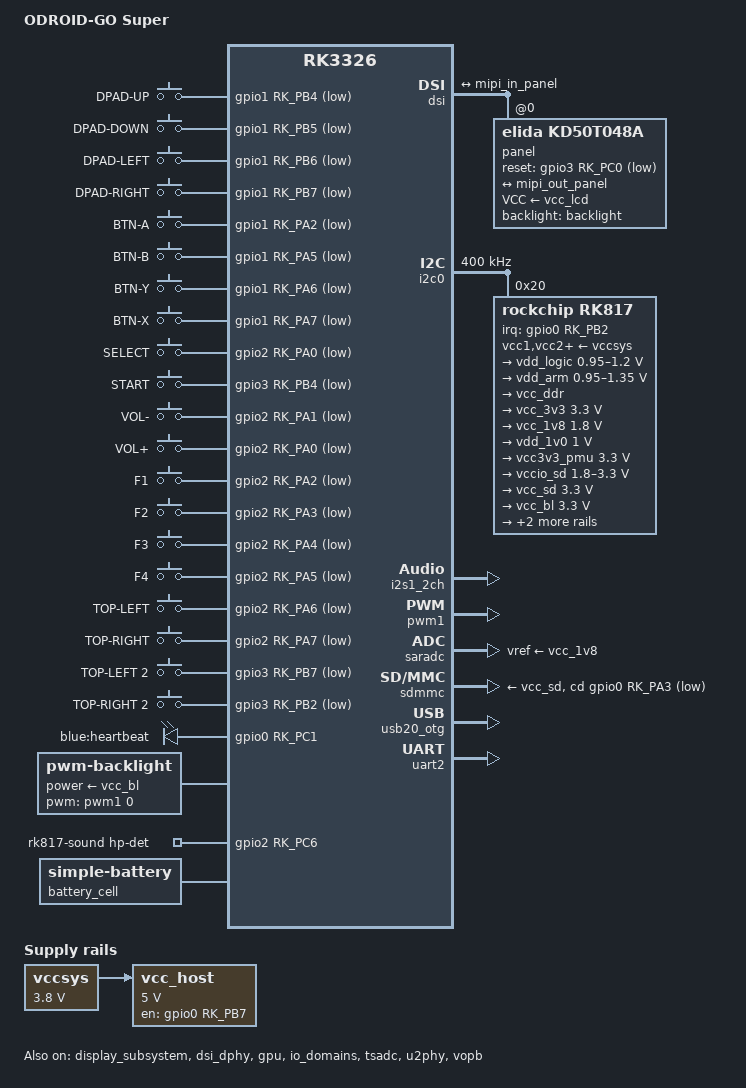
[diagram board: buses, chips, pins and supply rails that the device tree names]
// SPDX-License-Identifier: (GPL-2.0+ OR MIT)
/*
 * Copyright (c) 2019 Hardkernel Co., Ltd
 * Copyright (c) 2020 Theobroma Systems Design und Consulting GmbH
 */

/dts-v1/;
#include <dt-bindings/gpio/gpio.h>
#include <dt-bindings/input/input.h>
#include <dt-bindings/pinctrl/rockchip.h>
#include "rk3326.dtsi"

/ {
	model = "ODROID-GO Super";
	compatible = "hardkernel,rk3326-odroid-go3", "rockchip,rk3326";

	chosen {
		stdout-path = "serial2:115200n8";
	};

	gpio-keys {
		compatible = "gpio-keys";
		pinctrl-names = "default";
		pinctrl-0 = <&btn_pins>;

		/*
		 *          *** ODROID-GO3 Switch layout ***
		 * |------------------------------------------------|
		 * | sw15 sw17          sw21 sw22         sw18 sw16 |
		 * |------------------------------------------------|
		 * |           sw19                   sw20          |
		 * |     sw1      |-------------------|      sw8    |
		 * |  sw3   sw4   |                   |   sw7   sw5 |
		 * |     sw2      |    LCD Display    |      sw6    |
		 * |              |                   |             |
		 * |              |-------------------|             |
		 * |  sw9 sw10                           sw13 sw14  |
		 * |------------------------------------------------|
		 */

		sw1 {
			gpios = <&gpio1 RK_PB4 GPIO_ACTIVE_LOW>;
			label = "DPAD-UP";
			linux,code = <BTN_DPAD_UP>;
		};
		sw2 {
			gpios = <&gpio1 RK_PB5 GPIO_ACTIVE_LOW>;
			label = "DPAD-DOWN";
			linux,code = <BTN_DPAD_DOWN>;
		};
		sw3 {
			gpios = <&gpio1 RK_PB6 GPIO_ACTIVE_LOW>;
			label = "DPAD-LEFT";
			linux,code = <BTN_DPAD_LEFT>;
		};
		sw4 {
			gpios = <&gpio1 RK_PB7 GPIO_ACTIVE_LOW>;
			label = "DPAD-RIGHT";
			linux,code = <BTN_DPAD_RIGHT>;
		};
		sw5 {
			gpios = <&gpio1 RK_PA2 GPIO_ACTIVE_LOW>;
			label = "BTN-A";
			linux,code = <BTN_EAST>;
		};
		sw6 {
			gpios = <&gpio1 RK_PA5 GPIO_ACTIVE_LOW>;
			label = "BTN-B";
			linux,code = <BTN_SOUTH>;
		};
		sw7 {
			gpios = <&gpio1 RK_PA6 GPIO_ACTIVE_LOW>;
			label = "BTN-Y";
			linux,code = <BTN_WEST>;
		};
		sw8 {
			gpios = <&gpio1 RK_PA7 GPIO_ACTIVE_LOW>;
			label = "BTN-X";
			linux,code = <BTN_NORTH>;
		};
		sw9 {
			gpios = <&gpio2 RK_PA0 GPIO_ACTIVE_LOW>;
			label = "SELECT";
			linux,code = <BTN_SELECT>;
		};
		sw10 {
			gpios = <&gpio3 RK_PB4 GPIO_ACTIVE_LOW>;
			label = "START";
			linux,code = <BTN_START>;
		};
		sw11 {
			gpios = <&gpio2 RK_PA1 GPIO_ACTIVE_LOW>;
			label = "VOL-";
			linux,code = <BTN_TRIGGER_HAPPY1>;
		};
		sw12 {
			gpios = <&gpio2 RK_PA0 GPIO_ACTIVE_LOW>;
			label = "VOL+";
			linux,code = <BTN_TRIGGER_HAPPY2>;
		};
		sw13 {
			gpios = <&gpio2 RK_PA2 GPIO_ACTIVE_LOW>;
			label = "F1";
			linux,code = <BTN_TRIGGER_HAPPY3>;
		};
		sw14 {
			gpios = <&gpio2 RK_PA3 GPIO_ACTIVE_LOW>;
			label = "F2";
			linux,code = <BTN_TRIGGER_HAPPY4>;
		};
		sw15 {
			gpios = <&gpio2 RK_PA4 GPIO_ACTIVE_LOW>;
			label = "F3";
			linux,code = <BTN_TRIGGER_HAPPY5>;
		};
		sw16 {
			gpios = <&gpio2 RK_PA5 GPIO_ACTIVE_LOW>;
			label = "F4";
			linux,code = <BTN_TRIGGER_HAPPY6>;
		};
		sw17 {
			gpios = <&gpio2 RK_PA6 GPIO_ACTIVE_LOW>;
			label = "TOP-LEFT";
			linux,code = <BTN_TL>;
		};
		sw18 {
			gpios = <&gpio2 RK_PA7 GPIO_ACTIVE_LOW>;
			label = "TOP-RIGHT";
			linux,code = <BTN_TR>;
		};
		sw19 {
			gpios = <&gpio3 RK_PB7 GPIO_ACTIVE_LOW>;
			label = "TOP-LEFT 2";
			linux,code = <BTN_TL2>;
		};
		sw20 {
			gpios = <&gpio3 RK_PB2 GPIO_ACTIVE_LOW>;
			label = "TOP-RIGHT 2";
			linux,code = <BTN_TR2>;
		};
	};

	leds: gpio-leds {
		compatible = "gpio-leds";
		pinctrl-names = "default";
		pinctrl-0 = <&blue_led_pin>;

		blue_led: led-0 {
			label = "blue:heartbeat";
			gpios = <&gpio0 RK_PC1 GPIO_ACTIVE_HIGH>;
			linux,default-trigger = "heartbeat";
		};
	};


	backlight: backlight {
		compatible = "pwm-backlight";
		power-supply = <&vcc_bl>;
		pwms = <&pwm1 0 25000 0>;
	};

	leds: gpio-leds {
		compatible = "gpio-leds";
		pinctrl-names = "default";
		pinctrl-0 = <&blue_led_pin>;

		blue_led: led-0 {
			label = "blue:heartbeat";
			gpios = <&gpio0 RK_PC1 GPIO_ACTIVE_HIGH>;
			linux,default-trigger = "heartbeat";
		};
	};

	vccsys: vccsys {
		compatible = "regulator-fixed";
		regulator-name = "vcc3v8_sys";
		regulator-always-on;
		regulator-min-microvolt = <3800000>;
		regulator-max-microvolt = <3800000>;
	};

	rk817-sound {
		status = "okay";
		compatible = "simple-audio-card";
		simple-audio-card,format = "i2s";
		simple-audio-card,name = "Analog";
		simple-audio-card,mclk-fs = <256>;
		simple-audio-card,widgets =
			"Microphone", "Mic Jack",
			"Headphone", "Headphones",
			"Speaker", "Speaker";
		simple-audio-card,routing =
			"MICL", "Mic Jack",
			"Headphones", "HPOL",
			"Headphones", "HPOR",
			"Speaker", "SPKO";
		simple-audio-card,hp-det-gpio = <&gpio2 RK_PC6 GPIO_ACTIVE_HIGH>;
		simple-audio-card,cpu {
			sound-dai = <&i2s1_2ch>;
		};
		simple-audio-card,codec {
			sound-dai = <&rk817>;
		};
	};

	vcc_host: vcc_host {
		compatible = "regulator-fixed";
		regulator-name = "vcc_host";
		regulator-min-microvolt = <5000000>;
		regulator-max-microvolt = <5000000>;

		gpio = <&gpio0 RK_PB7 GPIO_ACTIVE_HIGH>;
		enable-active-high;
		regulator-always-on;
		vin-supply = <&vccsys>;
	};

	battery_cell: battery-cell {
		compatible = "simple-battery";
		charge-full-design-microamp-hours = <3000000>;
		charge-term-current-microamp = <300000>;
		constant-charge-current-max-microamp = <2000000>;
		constant-charge-voltage-max-microvolt = <4200000>;
		factory-internal-resistance-micro-ohms = <180000>;
		voltage-max-design-microvolt = <4100000>;
		voltage-min-design-microvolt = <3500000>;

		ocv-capacity-celcius = <20>;
		ocv-capacity-table-0 = <4106000 100>, <4071000 95>, <4018000 90>, <3975000 85>,
					<3946000 80>, <3908000 75>, <3877000 70>, <3853000 65>,
					<3834000 60>, <3816000 55>, <3802000 50>, <3788000 45>,
					<3774000 40>, <3760000 35>, <3748000 30>, <3735000 25>,
					<3718000 20>, <3697000 15>, <3685000 10>, <3625000 5>,
					<3500000 0>;
	};
};

//&dmc {
//	center-supply = <&vdd_logic>;
//};

&cpu0 {
	cpu-supply = <&vdd_arm>;
};

&cpu1 {
	cpu-supply = <&vdd_arm>;
};

&cpu2 {
	cpu-supply = <&vdd_arm>;
};

&cpu3 {
	cpu-supply = <&vdd_arm>;
};

&cru {
	assigned-clocks = <&cru PLL_NPLL>,
		<&cru ACLK_BUS_PRE>, <&cru ACLK_PERI_PRE>,
		<&cru HCLK_BUS_PRE>, <&cru HCLK_PERI_PRE>,
		<&cru PCLK_BUS_PRE>, <&cru SCLK_GPU>,
		<&cru PLL_CPLL>;

	assigned-clock-rates = <1188000000>,
		<200000000>, <200000000>,
		<150000000>, <150000000>,
		<100000000>, <200000000>,
		<17000000>;
};

&display_subsystem {
	status = "okay";
};

&dsi {
	status = "okay";

	ports {
		mipi_out: port@1 {
			reg = <1>;

			mipi_out_panel: endpoint {
				remote-endpoint = <&mipi_in_panel>;
			};
		};
	};

	panel@0 {
		compatible = "elida,kd50t048a", "simple-panel-dsi";
		reg = <0>;
		backlight = <&backlight>;
		reset-gpios = <&gpio3 RK_PC0 GPIO_ACTIVE_LOW>;
		VCC-supply = <&vcc_lcd>;

		port {
			mipi_in_panel: endpoint {
				remote-endpoint = <&mipi_out_panel>;
			};
		}; 
	};
};



&dsi_dphy {
	status = "okay";
};

&gpu {
	mali-supply = <&vdd_logic>;
	status = "okay";
};

&i2c0 {
	clock-frequency = <400000>;
	i2c-scl-falling-time-ns = <16>;
	i2c-scl-rising-time-ns = <280>;
	status = "okay";

	rk817: pmic@20 {
		compatible = "rockchip,rk817";
		reg = <0x20>;
		interrupt-parent = <&gpio0>;
		interrupts = <RK_PB2 IRQ_TYPE_LEVEL_LOW>;
		pinctrl-names = "default";
		pinctrl-0 = <&pmic_int &i2s1_2ch_mclk>;
		wakeup-source;
		#clock-cells = <1>;
		clock-output-names = "rk808-clkout1", "xin32k";
		clocks = <&cru SCLK_I2S1_OUT>;
		clock-names = "mclk";
		#sound-dai-cells = <0>;

		vcc1-supply = <&vccsys>;
		vcc2-supply = <&vccsys>;
		vcc3-supply = <&vccsys>;
		vcc4-supply = <&vccsys>;
		vcc5-supply = <&vccsys>;
		vcc6-supply = <&vccsys>;
		vcc7-supply = <&vccsys>;

		rk817_battery: battery {
			monitored-battery = <&battery_cell>;
			rockchip,resistor-sense-micro-ohms = <10000>;
			rockchip,sleep-enter-current-microamp = <300000>;
			rockchip,sleep-filter-current-microamp = <100000>;
		};

		rk817_codec: codec {
			mic-in-differential;
		};

		regulators {
			vdd_logic: DCDC_REG1 {
				regulator-name = "vdd_logic";
				regulator-min-microvolt = <950000>;
				regulator-max-microvolt = <1200000>;
				regulator-ramp-delay = <6001>;
				regulator-always-on;
				regulator-boot-on;

				regulator-state-mem {
					regulator-on-in-suspend;
					regulator-suspend-microvolt = <950000>;
				};
			};

			vdd_arm: DCDC_REG2 {
				regulator-name = "vdd_arm";
				regulator-min-microvolt = <950000>;
				regulator-max-microvolt = <1350000>;
				regulator-ramp-delay = <6001>;
				regulator-always-on;
				regulator-boot-on;

				regulator-state-mem {
					regulator-off-in-suspend;
					regulator-suspend-microvolt = <950000>;
				};
			};

			vcc_ddr: DCDC_REG3 {
				regulator-name = "vcc_ddr";
				regulator-always-on;
				regulator-boot-on;

				regulator-state-mem {
					regulator-on-in-suspend;
				};
			};

			vcc_3v3: DCDC_REG4 {
				regulator-name = "vcc_3v3";
				regulator-min-microvolt = <3300000>;
				regulator-max-microvolt = <3300000>;
				regulator-always-on;
				regulator-boot-on;

				regulator-state-mem {
					regulator-off-in-suspend;
					regulator-suspend-microvolt = <3300000>;
				};
			};

			vcc_1v8: LDO_REG2 {
				regulator-name = "vcc_1v8";
				regulator-min-microvolt = <1800000>;
				regulator-max-microvolt = <1800000>;
				regulator-always-on;
				regulator-boot-on;

				regulator-state-mem {
					regulator-on-in-suspend;
					regulator-suspend-microvolt = <1800000>;
				};
			};

			vdd_1v0: LDO_REG3 {
				regulator-name = "vdd_1v0";
				regulator-min-microvolt = <1000000>;
				regulator-max-microvolt = <1000000>;
				regulator-always-on;
				regulator-boot-on;

				regulator-state-mem {
					regulator-on-in-suspend;
					regulator-suspend-microvolt = <1000000>;
				};
			};

			vcc3v3_pmu: LDO_REG4 {
				regulator-name = "vcc3v3_pmu";
				regulator-min-microvolt = <3300000>;
				regulator-max-microvolt = <3300000>;
				regulator-always-on;
				regulator-boot-on;

				regulator-state-mem {
					regulator-on-in-suspend;
					regulator-suspend-microvolt = <3300000>;
				};
			};

			vccio_sd: LDO_REG5 {
				regulator-name = "vccio_sd";
				regulator-min-microvolt = <1800000>;
				regulator-max-microvolt = <3300000>;
				regulator-always-on;
				regulator-boot-on;

				regulator-state-mem {
					regulator-on-in-suspend;
					regulator-suspend-microvolt = <3300000>;
				};
			};

			vcc_sd: LDO_REG6 {
				regulator-name = "vcc_sd";
				regulator-min-microvolt = <3300000>;
				regulator-max-microvolt = <3300000>;
				regulator-boot-on;

				regulator-state-mem {
					regulator-on-in-suspend;
					regulator-suspend-microvolt = <3300000>;
				};
			};

			vcc_bl: LDO_REG7 {
				regulator-name = "vcc_bl";
				regulator-min-microvolt = <3300000>;
				regulator-max-microvolt = <3300000>;

				regulator-state-mem {
					regulator-off-in-suspend;
					regulator-suspend-microvolt = <3300000>;
				};
			};

			vcc_lcd: LDO_REG8 {
				regulator-name = "vcc_lcd";
				regulator-min-microvolt = <2800000>;
				regulator-max-microvolt = <2800000>;

				regulator-state-mem {
					regulator-off-in-suspend;
					regulator-suspend-microvolt = <2800000>;
				};
			};

			vcc_cam: LDO_REG9 {
				regulator-name = "vcc_cam";
				regulator-min-microvolt = <3000000>;
				regulator-max-microvolt = <3000000>;

				regulator-state-mem {
					regulator-off-in-suspend;
					regulator-suspend-microvolt = <3000000>;
				};
			};
		};
	};
};

// was used, no longer is
&i2c1 {
	status = "disabled";
};

/* I2S 1 Channel Used */
&i2s1_2ch {
	restes = <&cru SRST_I2S1>, <&cru SRST_I2S1_H>;
	reset-names = "reset-m", "reset-h";
	status = "okay";
};

&io_domains {
	vccio1-supply = <&vcc_3v3>;
	vccio2-supply = <&vccio_sd>;
	vccio3-supply = <&vcc_3v3>;
	vccio4-supply = <&vcc_3v3>;
	vccio5-supply = <&vcc_3v3>;
	vccio6-supply = <&vcc_3v3>;
	status = "okay";
};

&pmu_io_domains {
	pmuio1-supply = <&vcc3v3_pmu>;
	pmuio2-supply = <&vcc3v3_pmu>;
	status = "okay";
};

&pwm1 {
	status = "okay";
};

&saradc {
	vref-supply = <&vcc_1v8>;
	status = "okay";
};

&sdmmc {
	cap-sd-highspeed;
	card-detect-delay = <200>;
	cd-gpios = <&gpio0 RK_PA3 GPIO_ACTIVE_LOW>; /*[> CD GPIO <]*/
	sd-uhs-sdr12;
	sd-uhs-sdr25;
	sd-uhs-sdr50;
	sd-uhs-sdr104;
	vmmc-supply = <&vcc_sd>;
	vqmmc-supply = <&vccio_sd>;
	status = "okay";
};

&tsadc {
	status = "okay";
};

&u2phy {
	status = "okay";

	u2phy_host: host-port {
		status = "okay";
	};

	u2phy_otg: otg-port {
		status = "disabled";
	};
};

&usb20_otg {
	status = "okay";
};

&uart2 {
	pinctrl-names = "default";
	pinctrl-0 = <&uart2m1_xfer>;
	status = "okay";
};

&vopb {
	status = "okay";
};

&vopb_mmu {
	status = "okay";
};

&pinctrl {
	btns {
		btn_pins: btn-pins {
			rockchip,pins = <1 RK_PB4 RK_FUNC_GPIO &pcfg_pull_up>,
					<1 RK_PB5 RK_FUNC_GPIO &pcfg_pull_up>,
					<1 RK_PB6 RK_FUNC_GPIO &pcfg_pull_up>,
					<1 RK_PB7 RK_FUNC_GPIO &pcfg_pull_up>,

					<1 RK_PA2 RK_FUNC_GPIO &pcfg_pull_up>,
					<1 RK_PA5 RK_FUNC_GPIO &pcfg_pull_up>,
					<1 RK_PA6 RK_FUNC_GPIO &pcfg_pull_up>,
					<1 RK_PA7 RK_FUNC_GPIO &pcfg_pull_up>,

					<2 RK_PA0 RK_FUNC_GPIO &pcfg_pull_up>,
					<2 RK_PA1 RK_FUNC_GPIO &pcfg_pull_up>,
					<2 RK_PA2 RK_FUNC_GPIO &pcfg_pull_up>,
					<2 RK_PA3 RK_FUNC_GPIO &pcfg_pull_up>,
					<2 RK_PA4 RK_FUNC_GPIO &pcfg_pull_up>,
					<2 RK_PA5 RK_FUNC_GPIO &pcfg_pull_up>,
					<2 RK_PA6 RK_FUNC_GPIO &pcfg_pull_up>,
					<2 RK_PA7 RK_FUNC_GPIO &pcfg_pull_up>,

					<3 RK_PB1 RK_FUNC_GPIO &pcfg_pull_up>,
					<3 RK_PB2 RK_FUNC_GPIO &pcfg_pull_up>,
					<3 RK_PB4 RK_FUNC_GPIO &pcfg_pull_up>,
					<3 RK_PB7 RK_FUNC_GPIO &pcfg_pull_up>;
		};
	};

	headphone {
		hp_det: hp-det {
			rockchip,pins = <2 RK_PC6 RK_FUNC_GPIO &pcfg_pull_down>;
		};
	};

	leds {
		blue_led_pin: blue-led-pin {
			rockchip,pins = <0 RK_PC1 RK_FUNC_GPIO &pcfg_pull_none>;
		};
	};

	pmic {
		dc_det: dc-det {
			rockchip,pins = <0 RK_PB3 RK_FUNC_GPIO &pcfg_pull_none>;
		};

		pmic_int: pmic-int {
			rockchip,pins = <0 RK_PB2 RK_FUNC_GPIO &pcfg_pull_up>;
		};

		soc_slppin_gpio: soc_slppin_gpio {
			rockchip,pins = <0 RK_PA4 RK_FUNC_GPIO &pcfg_output_low>;
		};

		soc_slppin_rst: soc_slppin_rst {
			rockchip,pins = <0 RK_PA4 2 &pcfg_pull_none>;
		};

		soc_slppin_slp: soc_slppin_slp {
			rockchip,pins = <0 RK_PA4 1 &pcfg_pull_none>;
		};
	};
};
